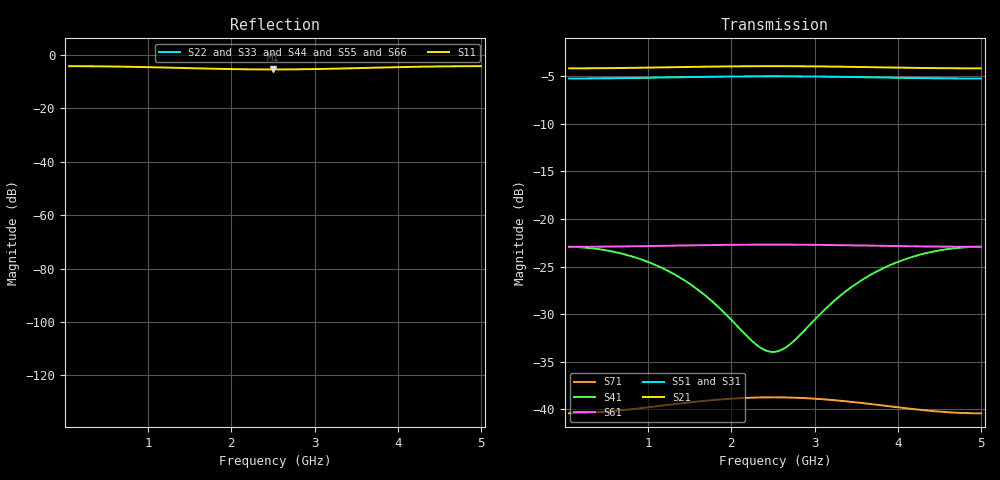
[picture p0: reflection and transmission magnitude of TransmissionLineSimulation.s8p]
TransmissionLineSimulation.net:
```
device R1 2 R 40.0
device T1 2 tline zc 55.0 td 1e-10
device R2 1 R 65.0
device Is 4 currentcontrolledvoltagesource 1.0
device Il 4 currentcontrolledvoltagesource 1.0
voltagesource VG1 1
device D1 4 directionalcoupler
device D2 4 directionalcoupler
device R3 1 R 50.0
device R4 1 R 50.0
device R5 1 R 50.0
device R6 1 R 50.0
connect R1 1 VG1 1
output R1 2
connect R1 2 D1 1
connect T1 1 Is 2
connect D2 1 T1 2
output R2 1
connect R2 1 Il 2
connect D1 2 Is 1
connect D2 2 Il 1
output R3 1
connect R3 1 D1 3
output R4 1
connect R4 1 D1 4
output D2 3
connect D2 3 R5 1
output D2 4
connect D2 4 R6 1
device Is_2 1 ground
device Is_3 1 open
connect Is 3 Is_2 1
connect Is 4 Is_3 1
output Is 4
device Il_2 1 ground
device Il_3 1 open
connect Il 3 Il_2 1
connect Il 4 Il_3 1
output Il 4
```
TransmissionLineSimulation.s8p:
# MHz MA S R 50.0
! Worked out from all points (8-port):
!   100 points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, 50 MHz to 5 GHz, reference 50 ohm
!   strongest paths, dB at 50 MHz, 1.3 GHz, 2.55 GHz, 3.8 GHz, 5 GHz:
!     S21: -4.2, -4.0, -3.9, -4.1, -4.2
!     S51: -5.2, -5.1, -5.0, -5.1, -5.2
!     S31: -5.2, -5.1, -5.1, -5.2, -5.2
!     S61: -22.9, -22.8, -22.7, -22.8, -22.9
!     S41: -22.9, -25.7, -33.9, -25.3, -22.9
!     S71: -40.4, -39.5, -38.7, -39.6, -40.4
!   lowest |S11| = -5.4 dB at 2.5 GHz (marker M1), VSWR 3.33, Z = 166 + j0 ohm
!   |S11| at or under -10 dB: nowhere
